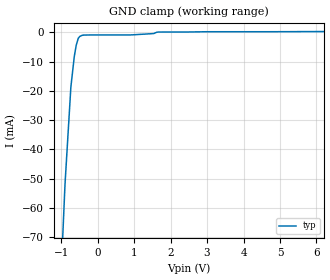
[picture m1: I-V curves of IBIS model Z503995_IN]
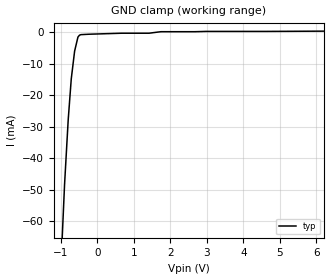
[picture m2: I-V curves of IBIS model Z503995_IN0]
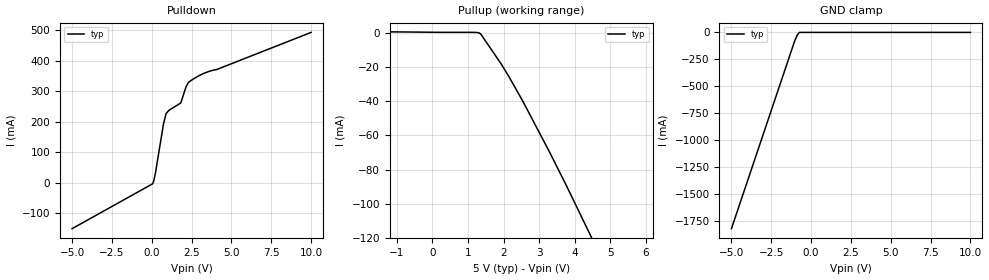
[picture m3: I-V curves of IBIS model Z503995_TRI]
| YOU ARE ONLY AUTHORIZED TO USE THIS SOFTWARE
| ACCORDING TO LICENSOR'S LICENSE RESTRICTIONS.
[IBIS Ver] 3.1
[File Name] mc74f244dw.ibs
[File Rev] 2.0
[Source] Measured and created by ICX Technology
[Date] Friday 7/14/00 9:08:04 AM
[Copyright]
| (C) COPYRIGHT 1993-2000
| MENTOR GRAPHICS CORPORATION
| ICX STANDARD LIBRARY, ICX PROJECT MODELING,
| ICX CUSTOM MODELING, ICX VENDOR MODEL
| ALL RIGHTS RESERVED.
| THE FOLLOWING ARE TRADEMARKS OR SERVICE MARKS OF
| MENTOR GRAPHICS CORPORATION:ICX (R), ICX STANDARD
| LIBRARY(R), ICX PROJECT MODELING(R), ICX CUSTOM
| MODELING(R), qualityIBIS(TM), MODELVIEWER(TM),
| AND MODELEDITOR(TM)
| ALL COPIES OF SOFTWARE, INCLUDING BUT NOT LIMITED TO
| ANY MODIFICATIONS, ENHANCEMENTS OR DERIVATIVE WORKS,
| MUST CONTAIN ALL MENTOR GRAPHICS CORPORATION'S
| NOTICES AND LEGENDS, INCLUDING THOSE EMBEDDED IN
| SOFTWARE AND THOSE AFFIXED TO SOFTWARE MEDIUM
| AND CONTAINER, AS RECEIVED FROM MENTOR GRAPHICS
| CORPORATION.
|  ZAP Model Builder 2.7
[Component] MC74F244DW
[Manufacturer] OnSemiconductor
[Package]
| variable   typ   min   max
R_pkg  .178ohms NA NA
L_pkg  4.43nH NA NA
C_pkg  .62pF NA NA
[Pin] signal_name  model_name  R_pin  L_pin C_pin
1 _G Z503995_IN0 .186 5.37n .68p
2 A0 Z503995_IN .182 4.89n .65p
3 Y3 Z503995_TRI .178 4.42n .62p
4 A1 Z503995_IN .174 3.96n .59p
5 Y2 Z503995_TRI .17 3.51n .56p
6 A2 Z503995_IN .17 3.51n .56p
7 Y1 Z503995_TRI .174 3.96n .59p
8 A3 Z503995_IN .178 4.42n .62p
9 Y0 Z503995_TRI .182 4.89n .65p
10 GROUND GND .186 5.37n .68p
11 A0 Z503995_IN .186 5.37n .68p
12 Y3 Z503995_TRI0 .182 4.89n .65p
13 A1 Z503995_IN .178 4.42n .62p
14 Y2 Z503995_TRI0 .174 3.96n .59p
15 A2 Z503995_IN .17 3.51n .56p
16 Y1 Z503995_TRI0 .17 3.51n .56p
17 A3 Z503995_IN .174 3.96n .59p
18 Y0 Z503995_TRI0 .178 4.42n .62p
19 _G Z503995_IN0 .182 4.89n .65p
20 VCC POWER .186 5.37n .68p
| Models and submodels in the file (4): Z503995_IN (Input), Z503995_IN0 (Input), Z503995_TRI (3-state), Z503995_TRI0 (3-state)
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| (C) COPYRIGHT 1993-2000
| MENTOR GRAPHICS CORPORATION
| ICX STANDARD LIBRARY, ICX PROJECT MODELING,
| ICX CUSTOM MODELING, ICX VENDOR MODEL
| ALL RIGHTS RESERVED.
| THE FOLLOWING ARE TRADEMARKS OR SERVICE MARKS OF
| MENTOR GRAPHICS CORPORATION:ICX (R), ICX STANDARD
| LIBRARY(R), ICX PROJECT MODELING(R), ICX CUSTOM
| MODELING(R), qualityIBIS(TM), MODELVIEWER(TM),
| AND MODELEDITOR(TM)
| ALL COPIES OF SOFTWARE, INCLUDING BUT NOT LIMITED TO
| ANY MODIFICATIONS, ENHANCEMENTS OR DERIVATIVE WORKS,
| MUST CONTAIN ALL MENTOR GRAPHICS CORPORATION'S
| NOTICES AND LEGENDS, INCLUDING THOSE EMBEDDED IN
| SOFTWARE AND THOSE AFFIXED TO SOFTWARE MEDIUM
| AND CONTAINER, AS RECEIVED FROM MENTOR GRAPHICS
| CORPORATION.
| Model Application Version 1.89 2/18/99.
[Model] Z503995_IN
Model_type Input
Vinl = 800.0mV
Vinh = 2.000V
C_comp 4.000pF NA NA
| variable typ   min   max
[Voltage Range] 5.000V NA NA
[GND Clamp Reference] 0.000V NA NA
[POWER Clamp Reference] 5.000V NA NA
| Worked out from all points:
|   GND clamp passes 1 mA (typ) near -0.43 V on its own axis
[GND Clamp]
-5V       -1.133A    NA         NA
-1.121V   -117.2mA   NA         NA
-893.6mV  -51.95mA   NA         NA
-732.3mV  -18.57mA   NA         NA
-639.5mV  -8.261mA   NA         NA
-585.9mV  -4.348mA   NA         NA
-529.7mV  -1.976mA   NA         NA
-429.6mV  -1.003mA   NA         NA
898.5mV   -842.7uA   NA         NA
1.504V    -395.2uA   NA         NA
1.665V    149.5uA    NA         NA
10V       499.6uA    NA         NA
[POWER Clamp]
-5V       0A         NA         NA
10V       0A         NA         NA
| (C) COPYRIGHT 1993-2000
| MENTOR GRAPHICS CORPORATION
| ICX STANDARD LIBRARY, ICX PROJECT MODELING,
| ICX CUSTOM MODELING, ICX VENDOR MODEL
| ALL RIGHTS RESERVED.
| THE FOLLOWING ARE TRADEMARKS OR SERVICE MARKS OF
| MENTOR GRAPHICS CORPORATION:ICX (R), ICX STANDARD
| LIBRARY(R), ICX PROJECT MODELING(R), ICX CUSTOM
| MODELING(R), qualityIBIS(TM), MODELVIEWER(TM),
| AND MODELEDITOR(TM)
| ALL COPIES OF SOFTWARE, INCLUDING BUT NOT LIMITED TO
| ANY MODIFICATIONS, ENHANCEMENTS OR DERIVATIVE WORKS,
| MUST CONTAIN ALL MENTOR GRAPHICS CORPORATION'S
| NOTICES AND LEGENDS, INCLUDING THOSE EMBEDDED IN
| SOFTWARE AND THOSE AFFIXED TO SOFTWARE MEDIUM
| AND CONTAINER, AS RECEIVED FROM MENTOR GRAPHICS
| CORPORATION.
| Model Application Version 1.89 2/18/99.
[Model] Z503995_IN0
Model_type Input
Vinl = 800.0mV
Vinh = 2.000V
C_comp 4.000pF NA NA
| variable typ   min   max
[Voltage Range] 5.000V NA NA
[GND Clamp Reference] 0.000V NA NA
[POWER Clamp Reference] 5.000V NA NA
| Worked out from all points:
|   GND clamp passes 1 mA (typ) near -0.49 V on its own axis
[GND Clamp]
-5V       -1.391A    NA         NA
-1.084V   -97.07mA   NA         NA
-898.2mV  -48.37mA   NA         NA
-798.7mV  -27.89mA   NA         NA
-714.6mV  -14.83mA   NA         NA
-622.3mV  -5.979mA   NA         NA
-531.2mV  -1.53mA    NA         NA
-488.1mV  -935.4uA   NA         NA
-449.2mV  -767.9uA   NA         NA
1.415V    -318uA     NA         NA
1.743V    162uA      NA         NA
10V       539.6uA    NA         NA
[POWER Clamp]
-5V       0A         NA         NA
10V       0A         NA         NA
| (C) COPYRIGHT 1993-2000
| MENTOR GRAPHICS CORPORATION
| ICX STANDARD LIBRARY, ICX PROJECT MODELING,
| ICX CUSTOM MODELING, ICX VENDOR MODEL
| ALL RIGHTS RESERVED.
| THE FOLLOWING ARE TRADEMARKS OR SERVICE MARKS OF
| MENTOR GRAPHICS CORPORATION:ICX (R), ICX STANDARD
| LIBRARY(R), ICX PROJECT MODELING(R), ICX CUSTOM
| MODELING(R), qualityIBIS(TM), MODELVIEWER(TM),
| AND MODELEDITOR(TM)
| ALL COPIES OF SOFTWARE, INCLUDING BUT NOT LIMITED TO
| ANY MODIFICATIONS, ENHANCEMENTS OR DERIVATIVE WORKS,
| MUST CONTAIN ALL MENTOR GRAPHICS CORPORATION'S
| NOTICES AND LEGENDS, INCLUDING THOSE EMBEDDED IN
| SOFTWARE AND THOSE AFFIXED TO SOFTWARE MEDIUM
| AND CONTAINER, AS RECEIVED FROM MENTOR GRAPHICS
| CORPORATION.
| Model Application Version 1.89 2/18/99.
[Model] Z503995_TRI
Model_type 3-state
Vref=0.000V
Rref=500.0ohms
Cref=50.00pF
Vmeas=1.500V
C_comp 8.000pF NA NA
| variable typ   min   max
[Voltage Range] 5.000V NA NA
[POWER Clamp Reference] 5.000V NA NA
[Pullup Reference] 5.000V NA NA
[Pulldown Reference] 0.000V NA NA
[GND Clamp Reference] 0.000V NA NA
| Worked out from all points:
|   slope of the pulldown table from 0 to 0.75 V, typ, clamps not added: 3.75 ohm
|   slope of the pullup table from 0 to 0.75 V, typ, clamps not added: 18 kohm
|   GND clamp passes 1 mA (typ) near -0.73 V on its own axis
[GND Clamp]
-5V       -1.824A    NA         NA
-1.028V   -78.11mA   NA         NA
-884mV    -30.07mA   NA         NA
-790.6mV  -7.984mA   NA         NA
-718.7mV  0A         NA         NA
10V       0A         NA         NA
[Pulldown]
-5V       -150.3mA   NA         NA
68.97mV   -1.739mA   NA         NA
125.2mV   5.58mA     NA         NA
233.2mV   32.7mA     NA         NA
735.7mV   192.2mA    NA         NA
898.6mV   226.4mA    NA         NA
1.085V    237.4mA    NA         NA
1.821V    261.2mA    NA         NA
2.159V    315.3mA    NA         NA
2.307V    328.5mA    NA         NA
3.369V    360.2mA    NA         NA
10V       492.2mA    NA         NA
[Pullup]
-5V       1.236mA    NA         NA
1.123V    158.9uA    NA         NA
1.323V    -293uA     NA         NA
1.362V    -871.5uA   NA         NA
1.941V    -18.52mA   NA         NA
2.134V    -25.04mA   NA         NA
2.537V    -39.81mA   NA         NA
3.281V    -69.17mA   NA         NA
3.76V     -88.94mA   NA         NA
10V       -356.5mA   NA         NA
[POWER Clamp]
-5V       0A         NA         NA
10V       0A         NA         NA
[Ramp]
| variable typ min max
dV/dt_r 2.016/1.979n NA NA
dV/dt_f 2.016/831.1p NA NA
R_load = 500.0Ohms
